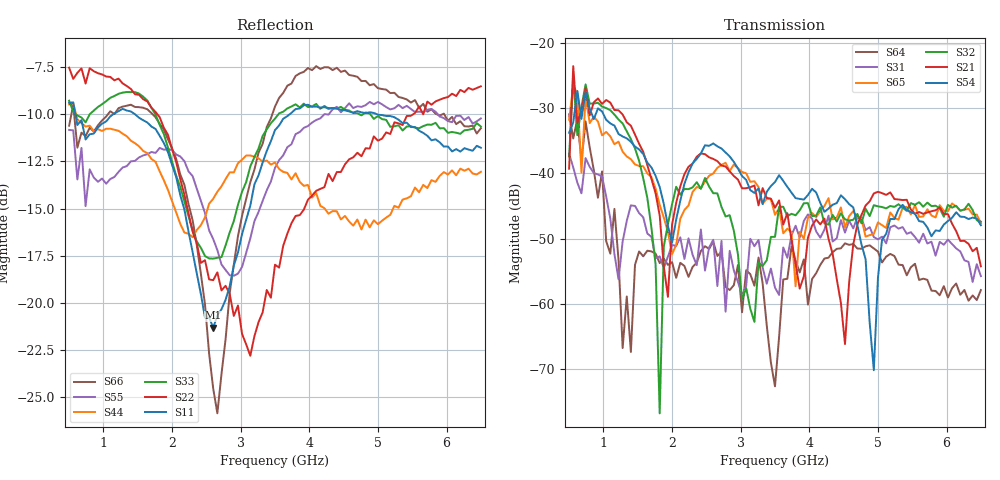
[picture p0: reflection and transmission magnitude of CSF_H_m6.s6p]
!Keysight Technologies,M9804A,MY58100912,A.14.10.03
!Date: Thursday, April 27, 2023 10:28:33
!Correction: S11(C  6-Port  )
!S12(C  6-Port  )
!S13(C  6-Port  )
!S14(C  6-Port  )
!S15(C  6-Port  )
!S16(C  6-Port  )
!S21(C  6-Port  )
!S22(C  6-Port  )
!S23(C  6-Port  )
!S24(C  6-Port  )
!S25(C  6-Port  )
!S26(C  6-Port  )
!S31(C  6-Port  )
!S32(C  6-Port  )
!S33(C  6-Port  )
!S34(C  6-Port  )
!S35(C  6-Port  )
!S36(C  6-Port  )
!S41(C  6-Port  )
!S42(C  6-Port  )
!S43(C  6-Port  )
!S44(C  6-Port  )
!S45(C  6-Port  )
!S46(C  6-Port  )
!S51(C  6-Port  )
!S52(C  6-Port  )
!S53(C  6-Port  )
!S54(C  6-Port  )
!S55(C  6-Port  )
!S56(C  6-Port  )
!S61(C  6-Port  )
!S62(C  6-Port  )
!S63(C  6-Port  )
!S64(C  6-Port  )
!S65(C  6-Port  )
!S66(C  6-Port  )
!S6P File: Measurement: :
# Hz S  RI  R 50
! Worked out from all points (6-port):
!   101 points, 500 MHz to 6.5 GHz, reference 50 ohm
!   strongest paths, dB at 500 MHz, 2 GHz, 3.5 GHz, 5 GHz, 6.5 GHz:
!     S54: -33.8, -50.6, -41.3, -56.0, -47.9
!     S21: -39.3, -47.8, -45.3, -42.8, -54.2
!     S32: -37.4, -44.7, -49.7, -45.1, -47.4
!     S65: -31.8, -52.4, -46.3, -47.5, -47.6
!     S31: -37.0, -51.0, -57.5, -50.1, -55.7
!     S64: -31.0, -53.6, -72.6, -52.0, -57.9
!   lowest |S11| = -21.3 dB at 2.6 GHz (marker M1), VSWR 1.19, Z = 42.4 + j2.3 ohm
!   |S11| at or under -10 dB: 591.9 MHz to 1.141 GHz (548.9 MHz wide, 63.4 % of centre); 1.463 GHz to 3.711 GHz (2.248 GHz wide, 86.9 % of centre); 4.991 GHz to end of sweep
